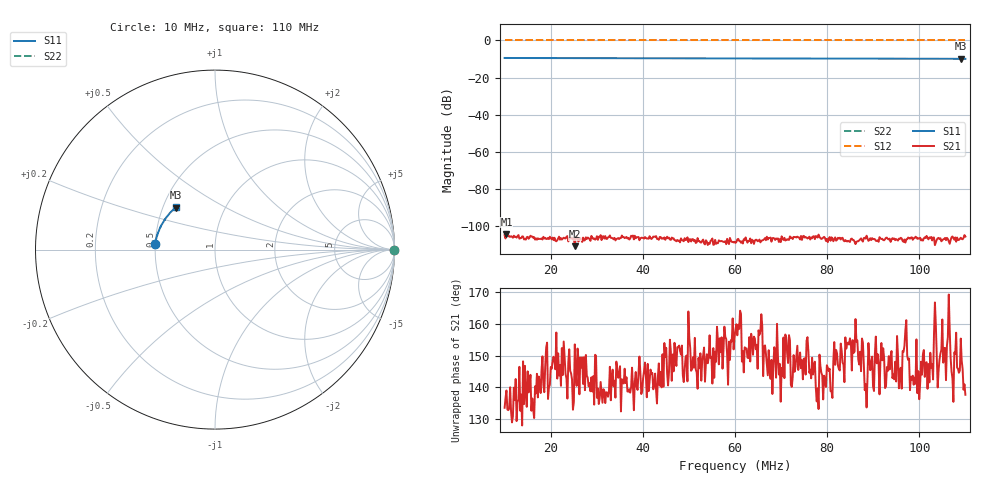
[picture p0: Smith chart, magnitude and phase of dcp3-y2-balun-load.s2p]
! Anritsu VNA Master:  Model: MS2034B/10/19/501
! SN:  1337062
! /bd0/ovro-jan-2016/dcp3-y2-balun-load.s2p
! Existing Calibration Information:
! TYPE:  Current Settings,  Active Cal Settings
! TIME:  01/14/2016 12:14:39 PM,  01/14/2016 12:01:10 PM
! INTERNAL TEMP:  44.0 C,  43.8 C
! # POINTS:  500,  500
! START FREQ:  10.000 MHz,  10.000 MHz
! STOP FREQ:  110.000 MHz,  110.000 MHz
! SOURCE POWER:  High,  High
! IFBW:  100 Hz,  100 Hz
! AVG FACTOR:  4 ,  4
! REF PLANE 1:  0 mm,  0 mm
! REF PLANE 2:  0 mm,  0 mm
! CAL TYPE:  Full S11,  Full S11
! CAL METHOD:  SOLT,  SOLT
! CAL LINE TYPE:  Coax,  Coax
! DUT PORT 1:  K-Conn(M),  K-Conn(M)
! DUT PORT 2:  N-Conn(M),  N-Conn(M)
! CAL STATUS:  OK: Accuracy High,  --
# GHZ S DB R 50.0
! FREQ.GHZ  S11DB  S11A  S21DB  S21A  S12DB  S12A  S22DB  S22A
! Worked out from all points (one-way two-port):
!   500 points, 10 MHz to 110 MHz, reference 50 ohm
!   highest |S21| = -104.32 dB at 10.4 MHz (marker M1); lowest = -110.9 dB at 25.23 MHz (marker M2)
!   lowest |S11| = -9.9 dB at 109 MHz (marker M3), VSWR 1.94, Z = 29.2 + j15.2 ohm
!   |S11| at or under -10 dB: nowhere
!   |S22| runs from 0.0 to 0.0 dB; largest |S21 - S12| = 1
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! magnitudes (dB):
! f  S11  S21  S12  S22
! 10 MHz  -9.4  -104.9  0.0  0.0
! 10.4 MHz  -9.4  -104.3  0.0  0.0
! 21.02 MHz  -9.5  -107.9  0.0  0.0
! 24.23 MHz  -9.6  -106.5  0.0  0.0
! 25.23 MHz  -9.5  -110.9  0.0  0.0
! 26.83 MHz  -9.5  -108.6  0.0  0.0
! 31.24 MHz  -9.6  -105.7  0.0  0.0
! 33.65 MHz  -9.6  -107.2  0.0  0.0
! 39.66 MHz  -9.6  -106.3  0.0  0.0
! 43.47 MHz  -9.6  -107.4  0.0  0.0
! 49.28 MHz  -9.7  -107.6  0.0  0.0
! 50.28 MHz  -9.7  -107.1  0.0  0.0
! 55.29 MHz  -9.7  -110.1  0.0  0.0
! 60.1 MHz  -9.7  -109.1  0.0  0.0
! 67.31 MHz  -9.7  -106.4  0.0  0.0
! 68.32 MHz  -9.7  -106.4  0.0  0.0
! 76.73 MHz  -9.8  -106.6  0.0  0.0
! 81.74 MHz  -9.8  -106.2  0.0  0.0
! 88.16 MHz  -9.8  -106.4  0.0  0.0
! 93.37 MHz  -9.8  -107.3  0.0  0.0
! 109 MHz  -9.9  -106.3  0.0  0.0
! 110 MHz  -9.9  -105.7  0.0  0.0
